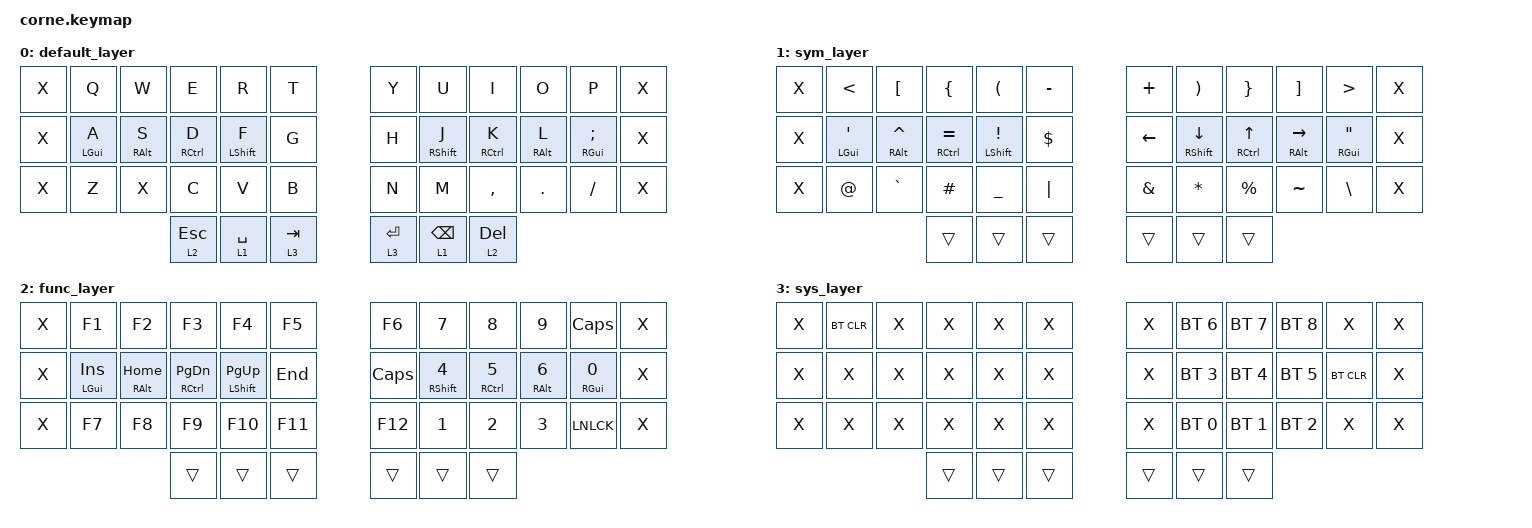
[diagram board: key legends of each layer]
/*
 * Copyright (c) 2020 The ZMK Contributors
 *
 * SPDX-License-Identifier: MIT
 */

#include <behaviors.dtsi>
#include <dt-bindings/zmk/keys.h>
#include <dt-bindings/zmk/bt.h>

/ {
    behaviors {
        hml: home_row_mod_left {
            compatible = "zmk,behavior-hold-tap";
            #binding-cells = <2>;
            flavor = "balanced";
            require-prior-idle-ms = <150>;
            tapping-term-ms = <240>;
            quick-tap-ms = <175>;
            bindings = <&kp>, <&kp>;
            hold-trigger-key-positions = < 
               6 7 8 9 10 18 19 20 21 22 30 31 32 33 34 39 40 41
            >; // List of keys on the right side of the keyboard
            hold-trigger-on-release;
        };
        hmr: home_row_mod_right {
            compatible = "zmk,behavior-hold-tap";
            #binding-cells = <2>;
            flavor = "balanced";
            require-prior-idle-ms = <150>;
            tapping-term-ms = <240>;
            quick-tap-ms = <175>;
            bindings = <&kp>, <&kp>;
            hold-trigger-key-positions = <
               1 2 3 4 5 13 14 15 16 17 25 26 27 28 29 36 37 38
            >; // List of keys on the left side of the keyboard
            hold-trigger-on-release;
        };
    };
};

/ {
        keymap {
                compatible = "zmk,keymap";
                default_layer {
                        bindings = <
                                // _________________________________________________________________________________________________________________________________________
                                // |     |     Q     |     W     |     E     |     R     |     T     |   |     Y     |     U     |     I     |     O     |     P     |     |
                                   &kp X    &kp Q       &kp W       &kp E       &kp R       &kp T           &kp Y       &kp U       &kp I       &kp O       &kp P   &kp X
                                // |_____|___________|___________|___________|___________|___________|___|___________|___________|___________|___________|___________|_____|
                                // |     |     A     |     S     |     D     |     F     |     G     |   |     H     |     J     |     K     |     L     |     ;     |     |
                                   &kp X &hml LGUI A  &hml RALT S  &hml RCTRL D &hml LSHFT F    &kp G          &kp H     &hmr RSHFT J &hmr RCTRL K  &hmr RALT L &hmr RGUI SEMI &kp X
                                // |_____|___________|___________|___________|___________|___________|___|___________|___________|___________|___________|___________|_____|
                                // |     |     Z     |     X     |     C     |     V     |     B     |   |     N     |     M     |     ,     |     .     |     /     |     |
                                   &kp X    &kp Z       &kp X       &kp C       &kp V       &kp B           &kp N       &kp M       &kp COMMA   &kp DOT   &kp FSLH   &kp X
                                //                               |___________|___________|___________|___|___________|___________|___________|
                                //                               |   ESC/L2  |   SPC/L1  |    TAB    |   |    RET    |  BSPC/L1  |   DEL/L2  |
                                                                   &lt 2 ESC  &lt 1 SPACE &lt 3 TAB       &lt 3 RET   &lt 1 BSPC   &lt 2 DEL
                              >;
                };
                sym_layer {
                        bindings = <
                                // _________________________________________________________________________________________________________________________________________
                                // |     |   <       |     [     |     {     |     (     |     -     |   |     +     |      )    |     }     |     ]     |     >     |     |
                                   &kp X    &kp LT     &kp LBKT     &kp LBRC    &kp LPAR   &kp MINUS       &kp PLUS      &kp RPAR   &kp RBRC   &kp RBKT     &kp GT    &kp X
                                // |_____|___________|___________|___________|___________|___________|___|___________|___________|___________|___________|___________|_____|
                                // |     |     '     |     ^     |      =    |     !     |     $     |   |   left    |    down   |     up    |   right   |     "     |     |
                            &kp X &hml LGUI SQT &hml RALT CARET &hml RCTRL EQUAL &hml LSHFT EXCL &kp DLLR   &kp LEFT &hmr RSHFT DOWN &hmr RCTRL UP &hmr RALT RIGHT &hmr RGUI DQT &kp X
                                // |_____|___________|___________|___________|___________|___________|___|___________|___________|___________|___________|___________|_____|
                                // |     |     @     |     `     |     #     |     _     |   PIPE    |   |     &     |     *     |     %     |     ~     |     \     |     |
                                   &kp X    &kp AT      &kp GRAVE   &kp HASH    &kp UNDER   &kp PIPE         &kp AMPS   &kp STAR    &kp PRCNT  &kp TILDE   &kp BSLH   &kp X
                                //                               |___________|___________|___________|___|___________|___________|___________|
                                //                               |           |           |           |   |           |           |           |
                                                                     &trans     &trans      &trans           &trans      &trans      &trans
                        >;
                };

                func_layer {
                        bindings = <
                                // _________________________________________________________________________________________________________________________________________
                                // |     |     F1    |     F2    |     F3    |     F4    |     F5    |   |     F6    |     7     |     8     |     9     |    CAP    |     |
                                   &kp X    &kp F1       &kp F2      &kp F3       &kp F4     &kp F5         &kp F6      &kp N7       &kp N8       &kp N9    &kp CLCK   &kp X
                                // |_____|___________|___________|___________|___________|___________|___|___________|___________|___________|___________|___________|_____|
                                // |     |    INS    |    home   |   pg dn   |   pg up   |    END    |   |    CAPs   |     4     |     5     |     6     |     0     |     |
                            &kp X &hml LGUI INS &hml RALT HOME &hml RCTRL PG_DN &hml LSHFT PG_UP &kp END   &kp CLCK &hmr RSHFT N4 &hmr RCTRL N5 &hmr RALT N6 &hmr RGUI N0 &kp X
                                // |_____|___________|___________|___________|___________|___________|___|___________|___________|___________|___________|___________|_____|
                                // |     |     F7    |     F8    |     F9    |    F10    |    F11    |   |     F12   |     1     |     2     |     3     |    NUM    |     |
                                   &kp X     &kp F7     &kp F8       &kp F9      &kp F10     &kp F11        &kp F12     &kp N1       &kp N2      &kp N3    &kp LNLCK  &kp X
                                //                               |___________|___________|___________|___|___________|___________|___________|
                                //                               |           |           |           |   |           |           |           |
                                                                    &trans     &trans      &trans           &trans      &trans      &trans
                        >;
                };

               sys_layer {
                        bindings = <
                                // _________________________________________________________________________________________________________________________________________
                                // |     |           |           |           |           |           |   |           |           |           |           |           |     |
                                    &kp X  &bt BT_CLR     &kp X       &kp X        &kp X      &kp X          &kp X   &bt BT_SEL 6 &bt BT_SEL 7 &bt BT_SEL 8   &kp X   &kp X
                                // |_____|___________|___________|___________|___________|___________|___|___________|___________|___________|___________|___________|_____|
                                // |     |           |           |           |           |           |   |           |           |           |           |           |     |
                                    &kp X    &kp X        &kp X       &kp X        &kp X      &kp X          &kp X   &bt BT_SEL 3 &bt BT_SEL 4 &bt BT_SEL 5 &bt BT_CLR &kp X
                                // |_____|___________|___________|___________|___________|___________|___|___________|___________|___________|___________|___________|_____|
                                // |     |           |           |           |           |           |   |           |           |           |           |           |     |
                                    &kp X    &kp X        &kp X       &kp X        &kp X      &kp X          &kp X   &bt BT_SEL 0 &bt BT_SEL 1 &bt BT_SEL 2   &kp X   &kp X
                                //                               |___________|___________|___________|___|___________|___________|___________|
                                //                               |           |           |           |   |           |           |           |
                                                                    &trans     &trans      &trans           &trans      &trans      &trans
                        >;
                };
        };
};
